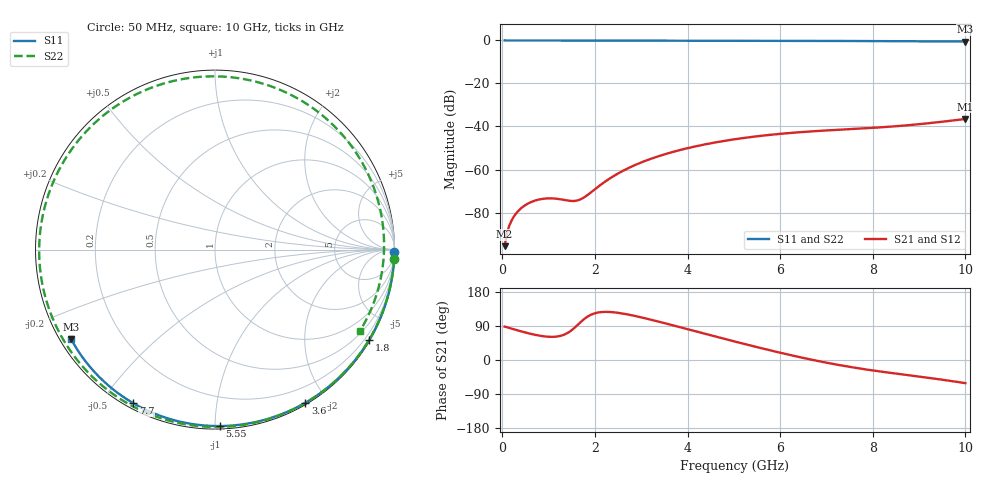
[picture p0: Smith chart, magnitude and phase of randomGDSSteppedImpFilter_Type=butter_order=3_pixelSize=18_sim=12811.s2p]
! freq	dB(S11)	phase(S11)	dB(S12)	phase(S12)
!  dB(S21)	phase(S21)	dB(S22)	phase(S22)
!S-par simulation data
#  GHz  S  DB  R 50
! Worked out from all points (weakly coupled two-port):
!   200 points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, 50 MHz to 10 GHz, reference 50 ohm
!   highest |S21| = -36.51 dB at 10 GHz (marker M1); lowest = -95.6 dB at 50 MHz (marker M2)
!   lowest |S11| = -0.5 dB at 10 GHz (marker M3), VSWR 34.87, Z = 1.55 - j14.3 ohm
!   |S11| at or under -10 dB: nowhere
!   |S22| runs from -0.7 to 0.0 dB; largest |S21 - S12| = 0
!   S11 on the Smith chart (normalised r, x): 50 MHz: open; 1.8 GHz: 0.03, -3.67; 3.6 GHz: 0.02, -1.75; 5.55 GHz: 0.02, -1.03; 7.7 GHz: 0.02, -0.60; 10 GHz: 0.03, -0.29
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0.05  -0.00 -0.9  -95.65 88.2  -95.65 88.2  -0.00 -2.9
0.3  -0.01 -5.2  -80.39 79.2  -80.39 79.2  -0.03 -17.2
0.6  -0.01 -10.3  -75.35 69.5  -75.35 69.5  -0.05 -34.0
0.95  -0.02 -16.2  -73.46 61.7  -73.46 61.7  -0.07 -53.0
1.25  -0.03 -21.3  -73.84 63.5  -73.84 63.5  -0.08 -68.6
1.55  -0.03 -26.3  -74.64 84.0  -74.64 84.0  -0.10 -83.4
1.75  -0.04 -29.7  -73.18 106.3  -73.18 106.3  -0.10 -92.8
1.8  -0.04 -30.5  -72.49 111.1  -72.49 111.1  -0.11 -95.1
2.55  -0.05 -42.8  -61.25 123.6  -61.25 123.6  -0.13 -127.3
3  -0.07 -50.0  -56.72 112.5  -56.72 112.5  -0.14 -144.9
3.4  -0.07 -56.3  -53.64 100.5  -53.64 100.5  -0.16 -159.8
3.6  -0.08 -59.4  -52.33 94.2  -52.33 94.2  -0.16 -167.0
4.3  -0.10 -70.1  -48.66 71.7  -48.66 71.7  -0.19 168.6
5.05  -0.12 -81.3  -45.84 47.8  -45.84 47.8  -0.23 143.1
5.55  -0.14 -88.5  -44.43 32.5  -44.43 32.5  -0.25 126.0
6.15  -0.17 -96.9  -43.13 15.0  -43.13 15.0  -0.28 105.2
6.7  -0.20 -104.5  -42.24 0.3  -42.24 0.3  -0.31 85.8
7.2  -0.23 -111.3  -41.59 -11.7  -41.59 -11.7  -0.34 67.9
7.7  -0.27 -117.9  -41.01 -22.1  -41.01 -22.1  -0.38 49.8
8.35  -0.32 -126.5  -40.12 -33.4  -40.12 -33.4  -0.43 26.5
9.15  -0.40 -137.0  -38.60 -46.2  -38.60 -46.2  -0.53 -1.5
10  -0.50 -148.1  -36.51 -61.1  -36.51 -61.1  -0.67 -29.5
